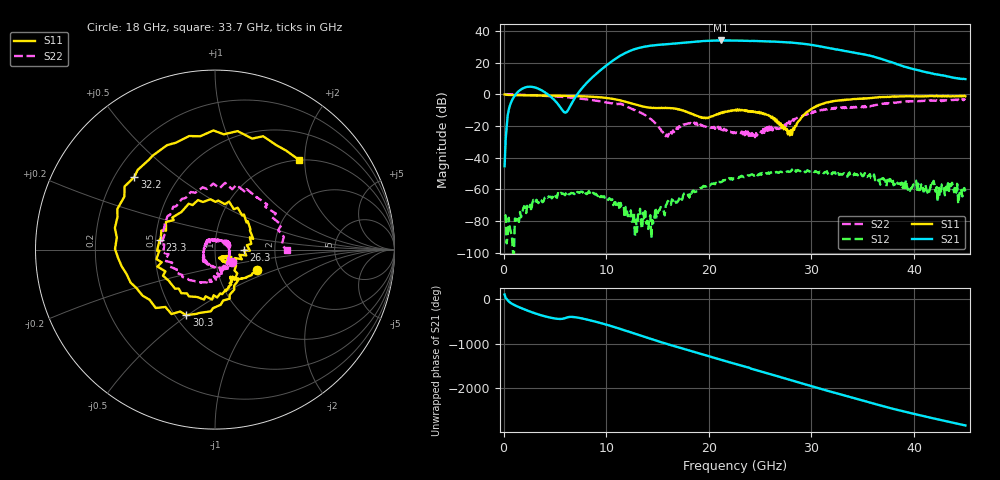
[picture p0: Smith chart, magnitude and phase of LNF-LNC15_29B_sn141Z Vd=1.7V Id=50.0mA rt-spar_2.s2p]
!Mode: Constant current
!Vd_set [V]: 1.7
!Id_set [A]: 0.05
!Vd [V]: 1.7
!Vg [V]: 0.31
!Id [A]: 0.049986
!Ig [A]: 2.5e-05
!bias: Vd=1.7V Id=50.0mA
!psx-card: 1
!psx-channel: 1
!VNA ID: Agilent Technologies,E8361A,US43140535,A.06.04.32
!IFBW [Hz]: 50.0
!Averaging: 1
!Power [dBm]: -50.0
!Power Slope [dB/GHz]: 0.0
!Reduce IF at low frequency: 1
!Sweep_index: 1
!DUT model number: LNF-LNC15_29B
!DUT serial number: 141Z
!Station: RT1
!Setup: Room temperature S-parameter
!Method: rt-spar
!Measurement start: 2021-02-16 09:14:53
!Measurement end: 2021-02-16 09:15:11
!Measurement length [s]: 17.991376876831055
!Saved by LNF Software Version: 0.9.109
#HZ S DB R 50
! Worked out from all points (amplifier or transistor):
!   450 points, 100 MHz to 45 GHz, reference 50 ohm
!   highest |S21| = 34.0 dB at 21.2 GHz (marker M1)
!   |S21| within 3 dB of that: 14.74 GHz to 30.2 GHz (15.47 GHz wide, 68.8 % of centre)
!   unconditionally stable (mu >= 1): start of sweep to 373.5 MHz; 762.7 MHz to end of sweep
!   at 7.6 GHz: K = 46.89, MAG = 12.8 dB, |S12| = -61.5 dB
!   at 22.6 GHz: K = 4.17, MAG = 34.4 dB, |S12| = -53.2 dB
!   at 45 GHz: K = 27.30, MAG = 18.1 dB, |S12| = -61.3 dB
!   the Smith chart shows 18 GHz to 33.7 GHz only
!   S11 on the Smith chart (normalised r, x): 18 GHz: 1.57, -0.37; 23.3 GHz: 0.53, +0.06; 26.3 GHz: 1.38, -0.01; 30.3 GHz: 0.57, -0.49; 32.2 GHz: 0.28, +0.36; 33.7 GHz: 0.99, +1.87
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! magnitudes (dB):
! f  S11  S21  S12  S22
! 100 MHz  -0.1  -45.5  -76.1  0.0
! 600 MHz  -0.4  -7.5  -83.7  0.1
! 1.5 GHz  -0.6  2.1  -80.7  -0.3
! 3.4 GHz  -0.7  3.5  -68.8  -0.8
! 6 GHz  -1.0  -11.6  -63.8  -1.8
! 7.6 GHz  -1.2  3.5  -61.5  -2.8
! 10.4 GHz  -2.6  20.1  -66.2  -5.5
! 12.7 GHz  -6.2  28.4  -74.4  -9.9
! 15.1 GHz  -8.7  31.2  -73.5  -20.5
! 16 GHz  -8.6  31.7  -67.4  -26.7
! 18 GHz  -11.7  32.9  -63.5  -18.4
! 21.2 GHz  -11.5  34.0  -55.4  -22.4
! 22.6 GHz  -9.8  33.9  -53.2  -24.6
! 23.3 GHz  -10.1  33.8  -51.9  -25.3
! 26.3 GHz  -15.9  33.3  -50.0  -20.9
! 27.9 GHz  -25.9  32.7  -48.9  -18.7
! 30.1 GHz  -8.8  31.1  -48.0  -10.9
! 30.3 GHz  -8.0  30.9  -49.2  -10.7
! 32.2 GHz  -4.4  28.6  -49.6  -8.5
! 33.7 GHz  -3.3  26.8  -49.4  -8.0
! 37.6 GHz  -1.7  20.6  -53.5  -5.7
! 45 GHz  -1.3  9.6  -61.3  -3.6
